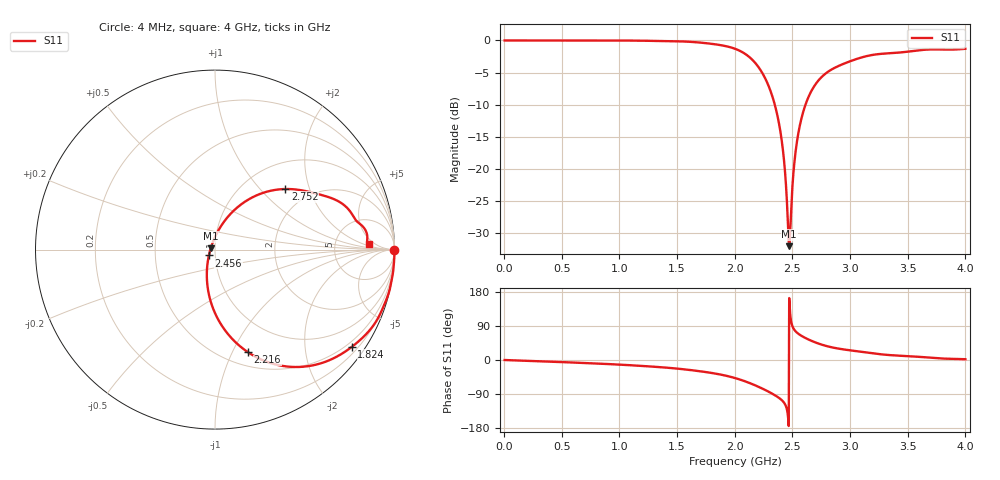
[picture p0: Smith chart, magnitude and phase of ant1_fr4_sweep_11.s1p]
! TOUCHSTONE file generated by CST MICROWAVE STUDIO
! Date and time: Fri May  6 15:38:56 2022
! Project name: ant1_ceramic_sweep_fr4.cst
! Parameters = {e=0.035; h=1.6; i=0.8; l1=0.5; l2=20.7504; ls=80; wl=1.7; ws=30}
! Header version: 2018
! Port assignment regex: !\s*Touchstone port\s*([0-9]+)\s*=\s*(CST MWS port|CST DS port)\s*([0-9]+|Zmin|Zmax)\s*\(\"(.*)\"\)(\s*mode\s*([0-9]+))?.*
! Touchstone port assignment:
! Touchstone port 1 = CST MWS port 1 ("")
# GHz S DB R 50
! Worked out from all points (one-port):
!   1000 points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, 4 MHz to 4 GHz, reference 50 ohm
!   lowest |S11| = -32.1 dB at 2.472 GHz (marker M1), VSWR 1.05, Z = 47.7 + j0.678 ohm
!   |S11| at or under -10 dB: 2.347 GHz to 2.614 GHz (267 MHz wide, 10.8 % of centre)
!   S11 on the Smith chart (normalised r, x): 4 MHz: open; 1.824 GHz: 0.36, -3.09; 2.216 GHz: 0.64, -1.15; 2.456 GHz: 0.93, -0.06; 2.752 GHz: 1.51, +1.40; 4 GHz: 13, +3
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0.004  -0.00 -0.0
0.504  -0.00 -5.5
1.004  -0.01 -12.3
1.504  -0.13 -22.8
1.824  -0.58 -35.4
2.004  -1.31 -47.8
2.12  -2.49 -59.7
2.216  -4.42 -72.1
2.312  -7.98 -86.7
2.38  -12.62 -99.3
2.404  -15.20 -105.0
2.424  -18.16 -111.3
2.436  -20.54 -116.9
2.456  -26.52 -136.3
2.464  -29.92 -156.8
2.472  -32.09 163.4
2.484  -28.27 111.4
2.504  -21.72 86.1
2.52  -18.51 78.2
2.536  -16.19 73.1
2.588  -11.49 62.1
2.66  -8.04 51.2
2.752  -5.72 40.7
2.856  -4.37 32.5
3.004  -3.22 25.3
3.216  -2.20 16.8
3.504  -1.74 10.2
4  -1.30 2.1
